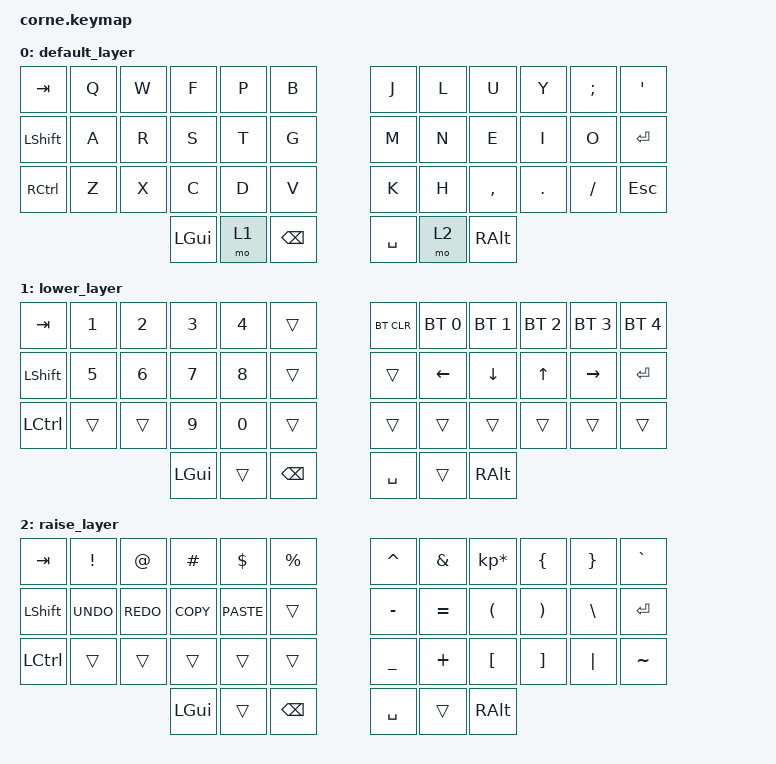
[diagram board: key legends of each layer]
/*
 * Copyright (c) 2020 The ZMK Contributors
 *
 * SPDX-License-Identifier: MIT
 */

#include <behaviors.dtsi>
#include <dt-bindings/zmk/bt.h>
#include <dt-bindings/zmk/keys.h>

/ {
    keymap {
        compatible = "zmk,keymap";

        default_layer {
            // -----------------------------------------------------------------------------------------
            // |  TAB |  Q  |  W  |  F  |  P  |  B  |   |  J  |  L   |  U  |  Y  |  ;  |  '  |
            // | CTRL |  A  |  R  |  S  |  T  |  G  |   |  M  |  N   |  E  |  I  |  O  |ENTR |
            // | SHFT |  Z  |  X  |  C  |  D  |  V  |   |  K  |  H   |  ,  |  .  |  /  | ESC |
            //                    | GUI | LWR | BKSP|   | SPC | RSE  | ALT |

            bindings = <
       &kp TAB  &kp Q  &kp W     &kp F  &kp P          &kp B        &kp J  &kp L      &kp U    &kp Y  &kp SEMI    &kp SQT
&kp LEFT_SHIFT  &kp A  &kp R     &kp S  &kp T          &kp G        &kp M  &kp N      &kp E    &kp I     &kp O  &kp ENTER
     &kp RCTRL  &kp Z  &kp X     &kp C  &kp D          &kp V        &kp K  &kp H  &kp COMMA  &kp DOT  &kp FSLH    &kp ESC
                              &kp LGUI  &mo 1  &kp BACKSPACE    &kp SPACE  &mo 2   &kp RALT
            >;
        };

        lower_layer {
            // -----------------------------------------------------------------------------------------
            // |  TAB |  1  |  2  |  3  |  4  |     |   |BTCLR| BT1 | BT2 | BT3 | BT4 | BT5 |
            // | BTCLR|  5  |  6  |  7  |  8  |     |   | LFT | DWN |  UP | RGT |     |     |
            // | SHFT |     |     |  9  |  0  |     |   |     |     |     |     |     |     |
            //                    | GUI |     | SPC |   | ENT |     | ALT |

            bindings = <
       &kp TAB        &kp N1        &kp N2        &kp N3        &kp N4         &trans    &bt BT_CLR  &bt BT_SEL 0  &bt BT_SEL 1  &bt BT_SEL 2  &bt BT_SEL 3  &bt BT_SEL 4
&kp LEFT_SHIFT  &kp NUMBER_5  &kp NUMBER_6  &kp NUMBER_7  &kp NUMBER_8         &trans        &trans      &kp LEFT      &kp DOWN  &kp UP_ARROW     &kp RIGHT     &kp ENTER
     &kp LCTRL        &trans        &trans  &kp NUMBER_9  &kp NUMBER_0         &trans        &trans        &trans        &trans        &trans        &trans        &trans
                                                &kp LGUI        &trans  &kp BACKSPACE     &kp SPACE        &trans      &kp RALT
            >;
        };

        raise_layer {
            // -----------------------------------------------------------------------------------------
            // |  TAB |  !  |  @  |  #  |  $  |  %  |   |  ^  |  &  |  *  |  (  |  )  | BKSP |
            // | CTRL |     |     |     |     |     |   |  -  |  =  |  [  |  ]  |  \  |  `   |
            // | SHFT |     |     |     |     |     |   |  _  |  +  |  {  |  }  | "|" |  ~   |
            //                    | GUI |     | SPC |   | ENT |     | ALT |

            bindings = <
       &kp TAB    &kp EXCL      &kp AT    &kp HASH     &kp DLLR      &kp PRCNT    &kp CARET   &kp AMPS       &kp KP_MULTIPLY         &kp LEFT_BRACE  &kp RIGHT_BRACE  &kp GRAVE
&kp LEFT_SHIFT  &kp K_UNDO  &kp K_REDO  &kp K_COPY  &kp K_PASTE         &trans    &kp MINUS  &kp EQUAL  &kp LEFT_PARENTHESIS  &kp RIGHT_PARENTHESIS         &kp BSLH  &kp ENTER
     &kp LCTRL      &trans      &trans      &trans       &trans         &trans    &kp UNDER   &kp PLUS      &kp LEFT_BRACKET      &kp RIGHT_BRACKET         &kp PIPE  &kp TILDE
                                          &kp LGUI       &trans  &kp BACKSPACE    &kp SPACE     &trans              &kp RALT
            >;
        };
    };
};
